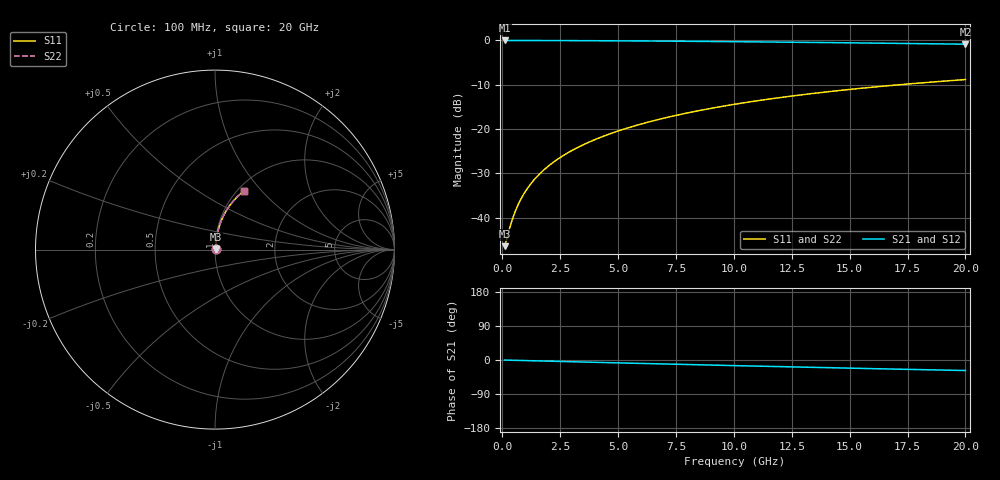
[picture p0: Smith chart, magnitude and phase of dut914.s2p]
! Touchstone file exported from HFSS 2024.1.0
!  File:  C:/UserFiles/LocalFiles/RDL_TSV_Batchsim/temp_RDL_top_914_1779936208.aedt
!  Generated:  10:46:20 AM May 28, 2026
!  Design:  RDL_top
!  Project:  temp_RDL_top_914_1779936208
!  Setup:  Setup1
!  Solution:  Sweep
! Variables:
!  dtsv = 10.80580581um
!  hbump = 3um
!  htsv = 67.93um
!  ldown = 100um
!  lrdl = 287.62um
!  p = 40
!  p1 = 54.22um
!  rhole = 1um
!  t = 450um
!  tdown = 3.915915916um
!  trdl = 2.01um
!  wdown = 15.38538539um
!  wrdl = 12.24um
# GHz S MA R 50.000000
! Terminal data exported
! Port[1] = Box2_T1
! Port[2] = Box2_T2
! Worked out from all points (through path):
!   200 points, 100 MHz to 20 GHz, reference 50 ohm
!   highest |S21| = -0.04 dB at 100 MHz (marker M1); lowest = -0.9 dB at 20 GHz (marker M2)
!   group delay of S21, straight-line fit = 3.86 ps
!   lowest |S11| = -46.4 dB at 100 MHz (marker M3), VSWR 1.01, Z = 50.4 + j0.198 ohm
!   |S11| at or under -10 dB: start of sweep to 17.17 GHz
!   |S22| runs from -46.4 to -8.8 dB; largest |S21 - S12| = 3e-15
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0.1  0.004802 24.1  0.9956 -0.2  0.9956 -0.2  0.004802 24.1
! Gamma 0 0 0 0
! Port Impedance 50 0 50 0
0.4  0.009027 59.8  0.9955 -0.6  0.9955 -0.6  0.009027 59.8
0.5  0.01077 64.6  0.9954 -0.8  0.9954 -0.8  0.01077 64.6
0.6  0.01256 67.9  0.9953 -0.9  0.9953 -0.9  0.01256 67.9
0.7  0.01438 70.4  0.9952 -1.1  0.9952 -1.1  0.01438 70.4
0.9  0.01805 73.8  0.995 -1.4  0.995 -1.4  0.01805 73.8
1.2  0.0236 76.8  0.9946 -1.9  0.9946 -1.9  0.0236 76.8
1.4  0.02731 78.1  0.9943 -2.2  0.9943 -2.2  0.02731 78.1
1.7  0.03289 79.4  0.9939 -2.6  0.9939 -2.6  0.03289 79.4
2.2  0.04224 80.7  0.9931 -3.4  0.9931 -3.4  0.04224 80.7
2.8  0.05349 81.4  0.992 -4.3  0.992 -4.3  0.05349 81.4
3.5  0.06667 81.6  0.9904 -5.4  0.9904 -5.4  0.06667 81.6
4.2  0.07991 81.5  0.9886 -6.4  0.9886 -6.4  0.07991 81.5
5  0.09508 81.2  0.9862 -7.6  0.9862 -7.6  0.09508 81.2
5.9  0.1122 80.5  0.9831 -8.9  0.9831 -8.9  0.1122 80.5
6.8  0.1293 79.7  0.9797 -10.3  0.9797 -10.3  0.1293 79.7
8.3  0.1578 78.2  0.9733 -12.4  0.9733 -12.4  0.1578 78.2
10.1  0.1916 76.1  0.9646 -14.9  0.9646 -14.9  0.1916 76.2
11.7  0.2211 74.2  0.956 -17.1  0.956 -17.1  0.2211 74.2
13.4  0.2517 72.1  0.9463 -19.4  0.9463 -19.4  0.2517 72.1
16.7  0.3084 67.9  0.9258 -23.7  0.9258 -23.7  0.3085 67.9
20  0.3611 63.8  0.9036 -27.8  0.9036 -27.8  0.3611 63.9
